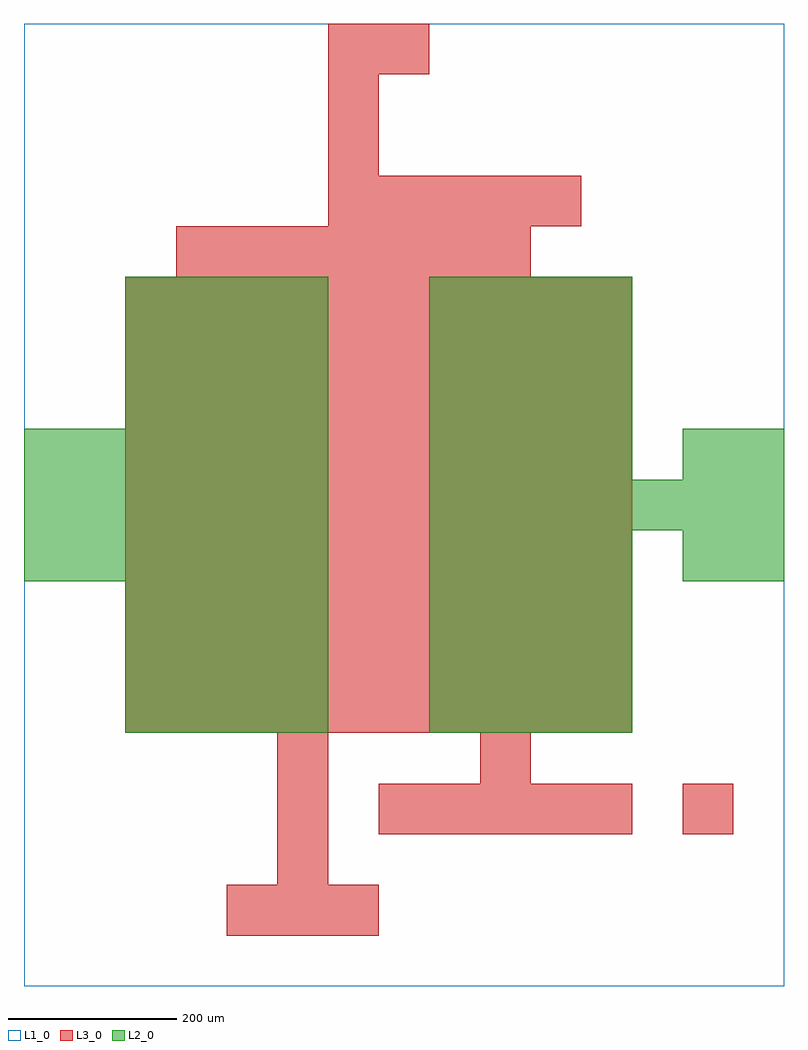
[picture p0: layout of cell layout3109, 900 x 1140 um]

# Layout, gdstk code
import gdstk
lib = gdstk.Library(unit=1e-6, precision=1e-09)
def R(c, l, rs):  # rectangles x0, y0, x1, y1
    for r in rs: c.add(gdstk.rectangle(r[:2], r[2:], *l))
def A(c, l, x, y, w, h, nx, ny, dx, dy):  # array of equal rectangles
    R(c, l, [(x+i*dx, y+j*dy, x+i*dx+w, y+j*dy+h) for i in range(nx) for j in range(ny)])
L1_0 = (1, 0)
L2_0 = (2, 0)
L3_0 = (3, 0)

layout3109 = lib.new_cell('layout3109')
R(layout3109, L1_0, [(0,0,900,1140)])
A(layout3109, L2_0, 120, 300, 60, 60, 4, 3, 60, 60)
A(layout3109, L2_0, 480, 300, 60, 60, 4, 4, 60, 60)
A(layout3109, L2_0, 0, 480, 60, 60, 6, 3, 60, 60)
A(layout3109, L2_0, 480, 540, 60, 60, 7, 1, 60, 0)
A(layout3109, L2_0, 480, 600, 60, 60, 4, 4, 60, 60)
A(layout3109, L2_0, 120, 660, 60, 60, 4, 3, 60, 60)
R(layout3109, L2_0, [(780,480,840,540), (840,480,900,540), (780,600,840,660), (840,600,900,660)])
A(layout3109, L3_0, 240, 60, 60, 60, 3, 1, 60, 0)
A(layout3109, L3_0, 300, 120, 60, 60, 1, 3, 0, 60)
A(layout3109, L3_0, 420, 180, 60, 60, 5, 1, 60, 0)
A(layout3109, L3_0, 120, 300, 60, 60, 10, 9, 60, 60)
A(layout3109, L3_0, 180, 840, 60, 60, 7, 1, 60, 0)
A(layout3109, L3_0, 360, 900, 60, 60, 5, 1, 60, 0)
A(layout3109, L3_0, 360, 960, 60, 60, 1, 3, 0, 60)
R(layout3109, L3_0, [(780,180,840,240), (540,240,600,300), (420,1080,480,1140)])

lib.write_gds('layout3109.gds')
